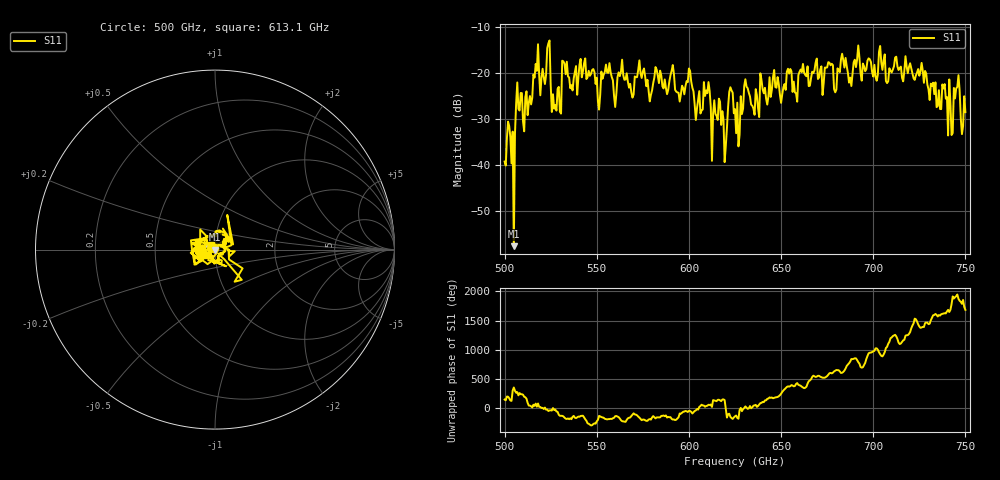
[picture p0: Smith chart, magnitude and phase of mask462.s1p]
!Created with skrf (http://scikit-rf.org).
# GHz S MA R 50.0
!freq magS11 angS11
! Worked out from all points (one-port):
!   401 points, 500 GHz to 750 GHz, reference 50 ohm
!   lowest |S11| = -57.8 dB at 505 GHz (marker M1), VSWR 1.00, Z = 50.1 - j0.031 ohm
!   |S11| at or under -10 dB: start of sweep to end of sweep
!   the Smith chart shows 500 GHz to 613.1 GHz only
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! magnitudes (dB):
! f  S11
! 500 GHz  -39.3
! 503.1 GHz  -34.0
! 503.8 GHz  -39.7
! 505 GHz  -57.8
! 507.5 GHz  -27.8
! 513.8 GHz  -25.1
! 516.9 GHz  -18.1
! 520.6 GHz  -19.1
! 523.8 GHz  -13.6
! 526.9 GHz  -27.8
! 531.2 GHz  -17.4
! 542.5 GHz  -19.7
! 550.6 GHz  -26.2
! 556.2 GHz  -20.0
! 560 GHz  -27.4
! 562.5 GHz  -20.7
! 593.8 GHz  -24.3
! 609.4 GHz  -23.8
! 619.4 GHz  -39.5
! 622.5 GHz  -23.1
! 625 GHz  -27.9
! 656.2 GHz  -24.2
! 680 GHz  -23.7
! 683.8 GHz  -17.3
! 687.5 GHz  -21.0
! 691.2 GHz  -17.1
! 718.8 GHz  -20.1
! 750 GHz  -28.6
